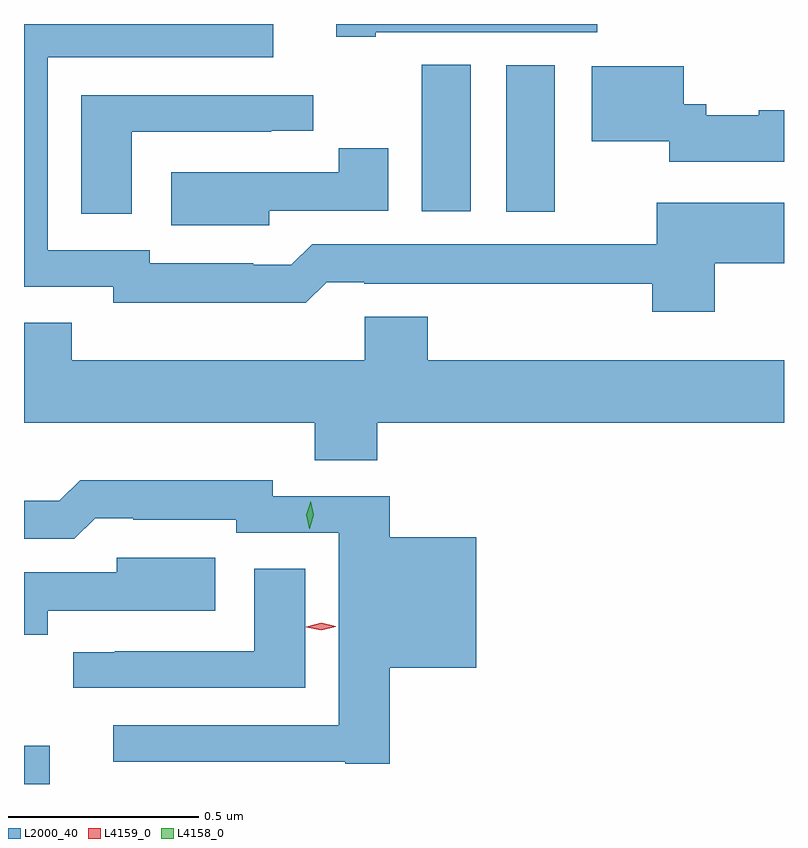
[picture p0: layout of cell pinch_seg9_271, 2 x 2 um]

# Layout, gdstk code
import gdstk
lib = gdstk.Library(unit=1e-6, precision=1e-09)
def R(c, l, rs):  # rectangles x0, y0, x1, y1
    for r in rs: c.add(gdstk.rectangle(r[:2], r[2:], *l))
def P(c, l, *ps):  # polygons
    for p in ps: c.add(gdstk.Polygon(p, *l))
L2000_40 = (2000, 40)
L4158_0 = (4158, 0)
L4159_0 = (4159, 0)

pinch_seg9_271 = lib.new_cell('pinch_seg9_271')
R(pinch_seg9_271, L2000_40, [(503.972,1230.101,504.04,1230.202), (505.241,1231.607,505.369,1231.993), (505.019,1231.608,505.147,1231.994)])
P(pinch_seg9_271, L2000_40, [(504.898,1232.079),(505.48,1232.079),(505.48,1232.101),(504.794,1232.101),(504.794,1232.067),(504.898,1232.067)],
  [(505.79,1231.472),(505.972,1231.472),(505.972,1231.63),(505.637,1231.63),(505.637,1231.522),(504.73,1231.522),(504.675,1231.467),(504.575,1231.467),(504.575,1231.471),(504.303,1231.471),(504.303,1231.506),(504.034,1231.506),(504.034,1232.013),(504.628,1232.013),(504.628,1232.101),(503.972,1232.101),(503.972,1231.41),(504.207,1231.41),(504.207,1231.367),(504.714,1231.367),(504.769,1231.422),(504.868,1231.422),(504.868,1231.418),(505.625,1231.418),(505.625,1231.344),(505.79,1231.344)],
  [(505.972,1231.874),(505.905,1231.874),(505.905,1231.861),(505.768,1231.861),(505.768,1231.89),(505.708,1231.89),(505.708,1231.99),(505.466,1231.99),(505.466,1231.793),(505.67,1231.793),(505.67,1231.739),(505.972,1231.739)],
  [(504.256,1231.818),(504.623,1231.818),(504.623,1231.82),(504.733,1231.82),(504.733,1231.914),(504.122,1231.914),(504.122,1231.602),(504.256,1231.602)],
  [(504.618,1231.61),(504.931,1231.61),(504.931,1231.774),(504.8,1231.774),(504.8,1231.711),(504.36,1231.711),(504.36,1231.571),(504.618,1231.571)],
  [(504.902,1231.052),(505.972,1231.052),(505.972,1231.216),(505.034,1231.216),(505.034,1231.33),(504.869,1231.33),(504.869,1231.216),(504.098,1231.216),(504.098,1231.315),(503.972,1231.315),(503.972,1231.052),(504.737,1231.052),(504.737,1230.953),(504.902,1230.953)],
  [(504.935,1230.407),(505.162,1230.407),(505.162,1230.751),(504.935,1230.751),(504.935,1230.858),(504.627,1230.858),(504.627,1230.901),(504.12,1230.901),(504.065,1230.846),(503.972,1230.846),(503.972,1230.746),(504.104,1230.746),(504.159,1230.801),(504.259,1230.801),(504.259,1230.797),(504.531,1230.797),(504.531,1230.762),(504.8,1230.762),(504.8,1230.255),(504.207,1230.255),(504.207,1230.159),(504.818,1230.159),(504.818,1230.154),(504.935,1230.154)],
  [(504.034,1230.557),(504.475,1230.557),(504.475,1230.697),(504.216,1230.697),(504.216,1230.658),(503.972,1230.658),(503.972,1230.494),(504.034,1230.494)],
  [(504.712,1230.667),(504.578,1230.667),(504.578,1230.45),(504.211,1230.45),(504.211,1230.448),(504.101,1230.448),(504.101,1230.354),(504.712,1230.354)])
P(pinch_seg9_271, L4158_0, [(504.723,1230.773),(504.723,1230.773),(504.715,1230.809),(504.726,1230.845),(504.726,1230.845),(504.726,1230.845),(504.735,1230.809),(504.724,1230.773)])
P(pinch_seg9_271, L4159_0, [(504.754,1230.505),(504.715,1230.514),(504.715,1230.515),(504.715,1230.515),(504.754,1230.525),(504.793,1230.516),(504.793,1230.516),(504.793,1230.515)])

lib.write_gds('pinch_seg9_271.gds')
